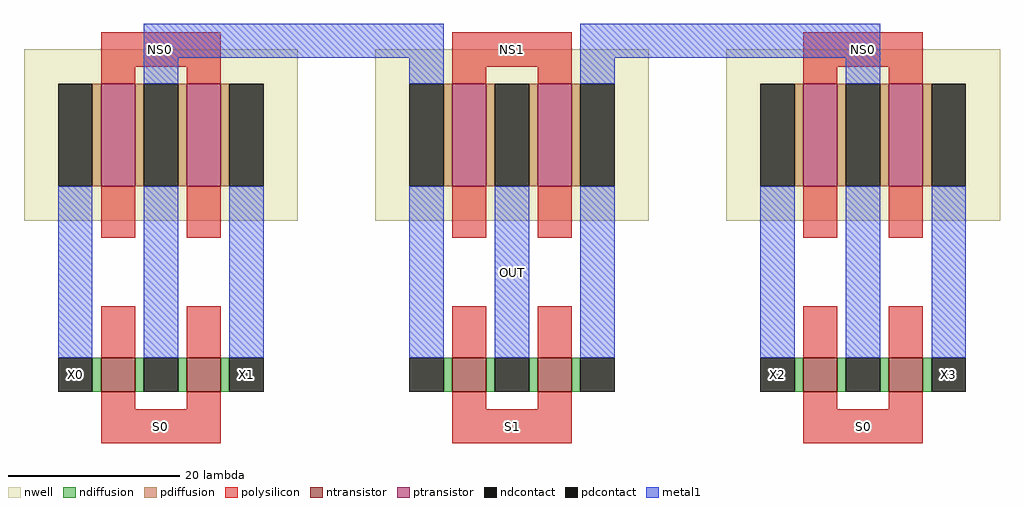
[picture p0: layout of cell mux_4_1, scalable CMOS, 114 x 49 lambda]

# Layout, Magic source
magic
tech scmos
<< metal1 >>
rect 14 45 49 49
rect 14 42 18 45
rect 45 42 49 45
rect 65 45 100 49
rect 65 42 69 45
rect 96 42 100 45
use mux_2_1  mux_2_1_0
transform 1 0 0 0 1 6
box 0 -6 32 42
use mux_2_1  mux_2_1_1
transform 1 0 82 0 1 6
box 0 -6 32 42
use mux_2_1  mux_2_1_2
transform 1 0 41 0 1 6
box 0 -6 32 42
<< labels >>
flabel space 55 10 59 30 0 FreeMono 40 0 0 0 OUT
flabel space 4 6 8 10 0 FreeMono 40 0 0 0 X0
port 2 nsew
flabel space 24 6 28 10 0 FreeMono 40 0 0 0 X1
port 3 nsew
flabel space 86 6 90 10 0 FreeMono 40 0 0 0 X2
port 4 nsew
flabel space 106 6 110 10 0 FreeMono 40 0 0 0 X3
port 5 nsew
flabel space 14 0 18 4 0 FreeMono 40 0 0 0 S0
port 7 nsew
flabel space 96 0 100 4 0 FreeMono 40 0 0 0 S0
port 8 nsew
flabel metal1 96 44 100 48 0 FreeMono 40 0 0 0 NS0
port 11 nsew
flabel metal1 14 44 18 48 0 FreeMono 40 0 0 0 NS0
port 12 nsew
flabel space 55 44 59 48 0 FreeMono 40 0 0 0 NS1
port 13 nsew
flabel space 55 0 59 4 0 FreeMono 40 0 0 0 S1
port 14 nsew
<< end >>

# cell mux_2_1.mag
magic
tech scmos
<< nwell >>
rect 0 20 32 40
<< polysilicon >>
rect 9 38 23 42
rect 9 36 13 38
rect 19 36 23 38
rect 9 18 13 24
rect 19 18 23 24
rect 9 4 13 10
rect 19 4 23 10
rect 9 -2 13 0
rect 19 -2 23 0
rect 9 -6 23 -2
<< ndiffusion >>
rect 8 0 9 4
rect 13 0 14 4
rect 18 0 19 4
rect 23 0 24 4
<< pdiffusion >>
rect 8 24 9 36
rect 13 24 14 36
rect 18 24 19 36
rect 23 24 24 36
<< metal1 >>
rect 4 4 8 24
rect 14 4 18 24
rect 24 4 28 24
<< ntransistor >>
rect 9 0 13 4
rect 19 0 23 4
<< ptransistor >>
rect 9 24 13 36
rect 19 24 23 36
<< ndcontact >>
rect 4 0 8 4
rect 14 0 18 4
rect 24 0 28 4
<< pdcontact >>
rect 4 24 8 36
rect 14 24 18 36
rect 24 24 28 36
<< labels >>
flabel metal1 14 4 18 24 0 FreeMono 40 0 0 0 OUT
flabel polysilicon 14 -6 18 -2 0 FreeMono 40 0 0 0 S
port 1 nsew
flabel polysilicon 14 38 18 42 0 FreeMono 40 0 0 0 NS
port 2 nsew
flabel metal1 4 4 8 24 0 FreeMono 40 0 -8 0 X0
port 6 nsew
flabel metal1 24 4 28 24 0 FreeMono 40 0 8 0 X1
port 9 nsew
<< end >>
